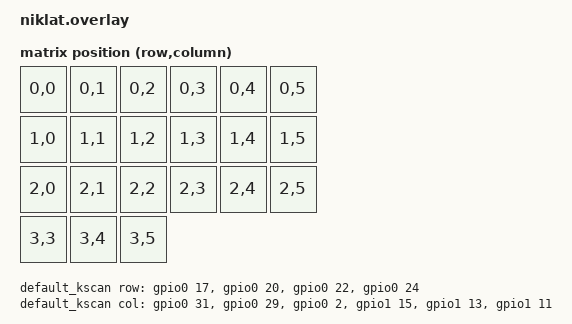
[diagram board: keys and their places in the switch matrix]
#include <dt-bindings/zmk/matrix_transform.h>
#include <zephyr/dt-bindings/gpio/gpio.h>

/ {
    chosen {
        zmk,kscan = &default_kscan;
        zmk,matrix_transform = &default_transform;
	zmk,display = &nice_view;
    };



    default_kscan: kscan {
        compatible = "zmk,kscan-gpio-matrix";
        label = "default_kscan";
        diode-direction = "col2row";

        row-gpios = <&gpio0 17 (GPIO_ACTIVE_HIGH | GPIO_PULL_DOWN)>,
                    <&gpio0 20 (GPIO_ACTIVE_HIGH | GPIO_PULL_DOWN)>,
                    <&gpio0 22 (GPIO_ACTIVE_HIGH | GPIO_PULL_DOWN)>,
                    <&gpio0 24 (GPIO_ACTIVE_HIGH | GPIO_PULL_DOWN)>;
    
        col-gpios = <&gpio0 31 GPIO_ACTIVE_HIGH>,
                    <&gpio0 29 GPIO_ACTIVE_HIGH>,
                    <&gpio0 2 GPIO_ACTIVE_HIGH>,
                    <&gpio1 15 GPIO_ACTIVE_HIGH>,
                    <&gpio1 13 GPIO_ACTIVE_HIGH>,
                    <&gpio1 11 GPIO_ACTIVE_HIGH>;
    };

    default_transform: matrix_transform {
        compatible = "zmk,matrix-transform";
        rows = <4>;
        columns = <6>;

        map = <
            RC(0,0) RC(0,1) RC(0,2) RC(0,3) RC(0,4) RC(0,5)
            RC(1,0) RC(1,1) RC(1,2) RC(1,3) RC(1,4) RC(1,5)
            RC(2,0) RC(2,1) RC(2,2) RC(2,3) RC(2,4) RC(2,5)
            RC(3,3) RC(3,4) RC(3,5)
        >;
    };
};

&pinctrl {
	spi0_default: spi0_default {
    		group1 {
			psels = <NRF_PSEL(SPIM_SCK, 0, 0)>,
				<NRF_PSEL(SPIM_MOSI, 0, 11)>;
    		};
	};
	spi0_sleep: spi0_sleep {
    		group1 {
			psels = <NRF_PSEL(SPIM_SCK, 0, 0)>,
	    			<NRF_PSEL(SPIM_MOSI, 0, 11)>;
			low-power-enable;
    		};
	};
};

nice_view_spi: &spi0 {
	compatible = "nordic,nrf-spim";
        status = "okay";
        pinctrl-0 = <&spi0_default>;
        pinctrl-1 = <&spi0_sleep>;
        pinctrl-names = "default", "sleep";

        cs-gpios = <&gpio1 6 GPIO_ACTIVE_HIGH>;

        nice_view: ls0xx@0 {
            compatible = "sharp,ls0xx";
            spi-max-frequency = <1000000>;
            reg = <0>;
            width = <160>;
            height = <68>;
        };
};
